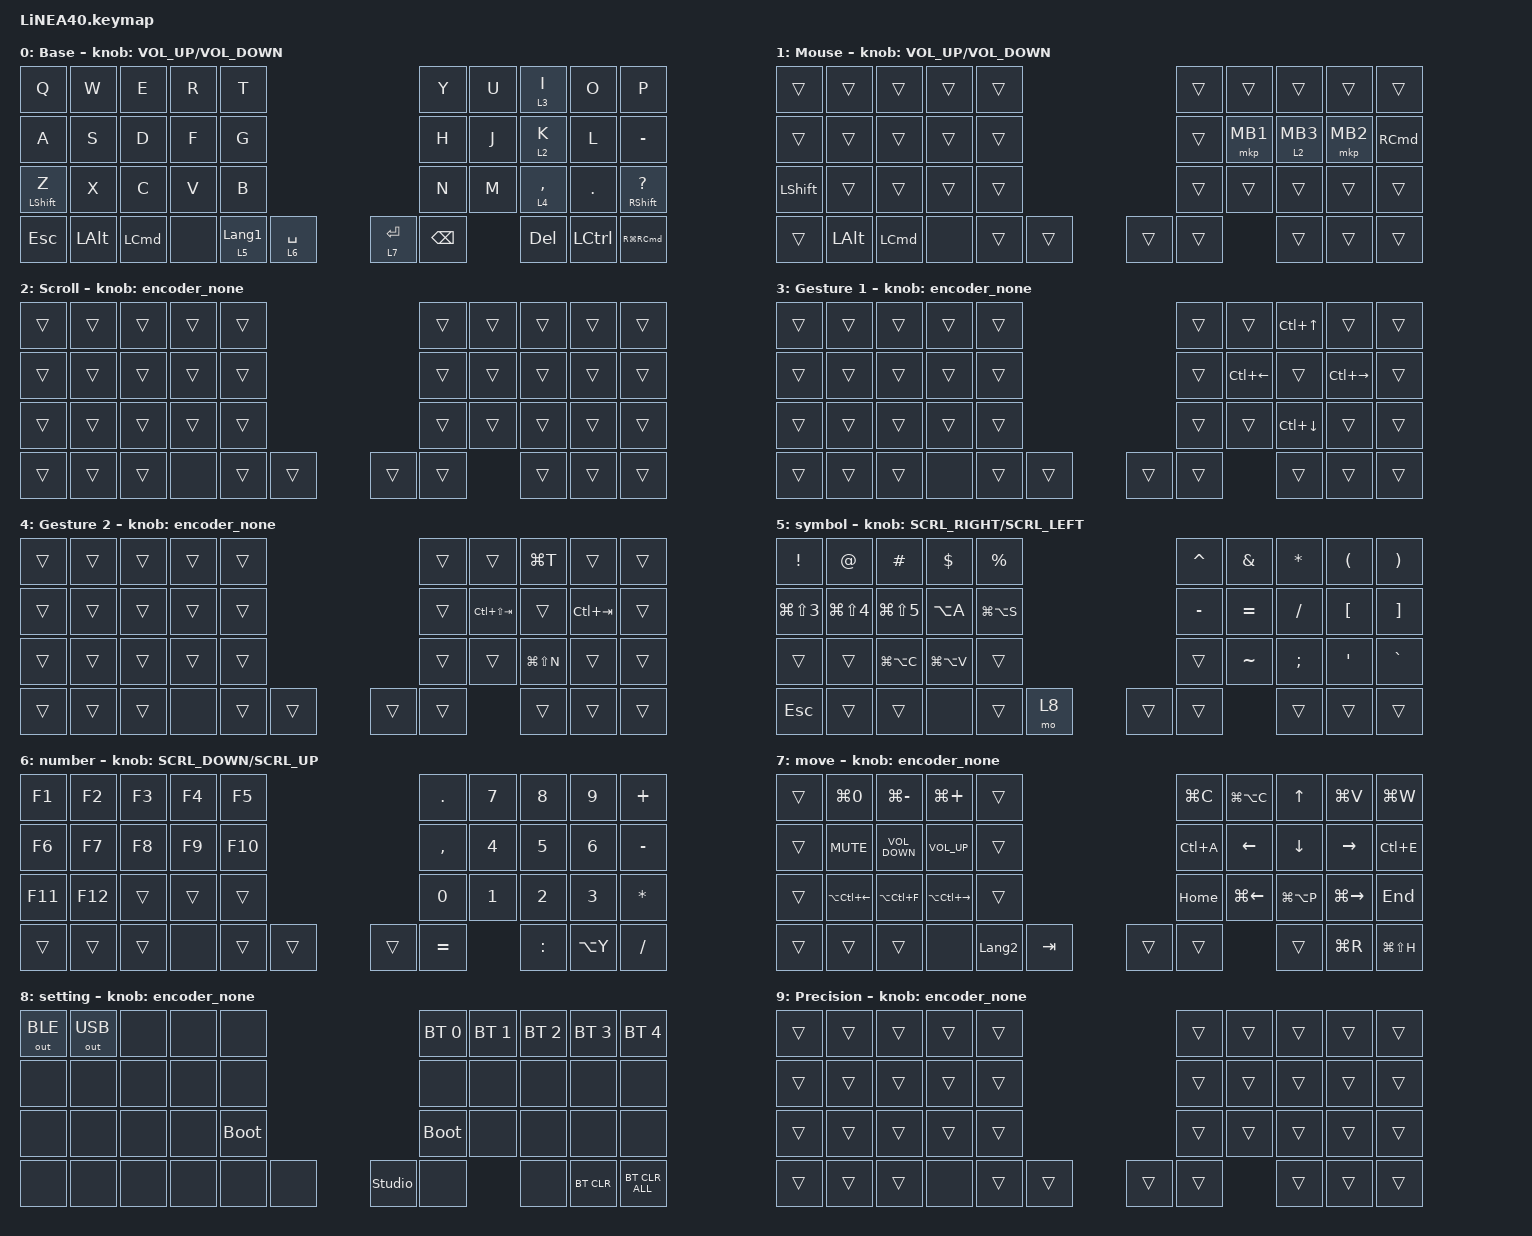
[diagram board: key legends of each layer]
#define ZMK_POINTING_DEFAULT_SCRL_VAL 200

#include <behaviors.dtsi>
#include <dt-bindings/zmk/bt.h>
#include <dt-bindings/zmk/keys.h>
#include <dt-bindings/zmk/outputs.h>
#include <dt-bindings/zmk/pointing.h>

&mt {
    tapping-term-ms = <300>;
    flavor = "balanced";
};

&lt {
    tapping-term-ms = <300>;
    quick-tap-ms = <300>;
};

/ {
    macros {
        emoji: emoji_macro {
            compatible = "zmk,behavior-macro";
            #binding-cells = <0>;
            bindings =
                <&macro_press>,
                <&kp CAPSLOCK>,
                <&macro_tap>,
                <&kp E>,
                <&macro_release>,
                <&kp CAPSLOCK>;
        };
    };

    behaviors {
        mouse_lt: mouse_layer_tap {
            compatible = "zmk,behavior-hold-tap";
            #binding-cells = <2>;
            flavor = "tap-preferred";
            tapping-term-ms = <300>;
            quick-tap-ms = <300>;
            bindings = <&mo>, <&mkp>;

            display-name = "Mouse Layer-Tap";
        };

        encoder_msc: sensor_rotate_msc {
            compatible = "zmk,behavior-sensor-rotate-var";
            #sensor-binding-cells = <2>;
            bindings = <&msc>, <&msc>;

            tap-ms = <20>;
        };

        encoder_none: sensor_rotate_none {
            compatible = "zmk,behavior-sensor-rotate";
            #sensor-binding-cells = <0>;
            bindings = <&none>, <&none>;
        };
    };

    combos {
        compatible = "zmk,combos";

        exit_app {
            bindings = <&kp LG(Q)>;
            key-positions = <8 9>;
        };

        log_off {
            bindings = <&kp LG(LC(Q))>;
            key-positions = <39 40>;
        };
    };

    keymap {
        compatible = "zmk,keymap";

        layer_0 {
            display-name = "Base";
            bindings = <
&kp Q         &kp W         &kp E             &kp R  &kp T                                         &kp Y          &kp U  &lt 3 I      &kp O      &kp P
&kp A         &kp S         &kp D             &kp F  &kp G                                         &kp H          &kp J  &lt 2 K      &kp L      &kp MINUS
&mt LSHIFT Z  &kp X         &kp C             &kp V  &kp B                                         &kp N          &kp M  &lt 4 COMMA  &kp DOT    &mt RSHIFT QUESTION
&kp ESCAPE    &kp LEFT_ALT  &kp LEFT_COMMAND  &none  &lt 5 LANGUAGE_1  &lt 6 SPACE    &lt 7 ENTER  &kp BACKSPACE         &kp DELETE   &kp LCTRL  &kp RG(RIGHT_COMMAND)
            >;

            sensor-bindings = <&inc_dec_kp C_VOLUME_UP C_VOLUME_DOWN>;
        };

        layer_1 {
            display-name = "Mouse";
            bindings = <
&trans      &trans        &trans            &trans  &trans                    &trans  &trans    &trans           &trans    &trans
&trans      &trans        &trans            &trans  &trans                    &trans  &mkp MB1  &mouse_lt 2 MB3  &mkp MB2  &kp RIGHT_COMMAND
&kp LSHIFT  &trans        &trans            &trans  &trans                    &trans  &trans    &trans           &trans    &trans
&trans      &kp LEFT_ALT  &kp LEFT_COMMAND  &none   &trans  &trans    &trans  &trans            &trans           &trans    &trans
            >;

            sensor-bindings = <&inc_dec_kp C_VOLUME_UP C_VOLUME_DOWN>;
        };

        layer_2 {
            display-name = "Scroll";
            bindings = <
&trans  &trans  &trans  &trans  &trans                    &trans  &trans  &trans  &trans  &trans
&trans  &trans  &trans  &trans  &trans                    &trans  &trans  &trans  &trans  &trans
&trans  &trans  &trans  &trans  &trans                    &trans  &trans  &trans  &trans  &trans
&trans  &trans  &trans  &none   &trans  &trans    &trans  &trans          &trans  &trans  &trans
            >;

            sensor-bindings = <&encoder_none>;
        };

        layer_3 {
            display-name = "Gesture 1";
            bindings = <
&trans  &trans  &trans  &trans  &trans                    &trans  &trans              &kp LC(UP_ARROW)    &trans               &trans
&trans  &trans  &trans  &trans  &trans                    &trans  &kp LC(LEFT_ARROW)  &trans              &kp LC(RIGHT_ARROW)  &trans
&trans  &trans  &trans  &trans  &trans                    &trans  &trans              &kp LC(DOWN_ARROW)  &trans               &trans
&trans  &trans  &trans  &none   &trans  &trans    &trans  &trans                      &trans              &trans               &trans
            >;

            sensor-bindings = <&encoder_none>;
        };

        layer_4 {
            display-name = "Gesture 2";
            bindings = <
&trans  &trans  &trans  &trans  &trans                    &trans  &trans           &kp LG(T)      &trans       &trans
&trans  &trans  &trans  &trans  &trans                    &trans  &kp LC(LS(TAB))  &trans         &kp LC(TAB)  &trans
&trans  &trans  &trans  &trans  &trans                    &trans  &trans           &kp LG(LS(N))  &trans       &trans
&trans  &trans  &trans  &none   &trans  &trans    &trans  &trans                   &trans         &trans       &trans
            >;

            sensor-bindings = <&encoder_none>;
        };

        layer_5 {
            display-name = "symbol";
            bindings = <
&kp EXCLAMATION  &kp AT_SIGN     &kp HASH        &kp DOLLAR     &kp PERCENT                     &kp CARET  &kp AMPERSAND  &kp ASTERISK   &kp LEFT_PARENTHESIS  &kp RIGHT_PARENTHESIS
&kp LG(LS(N3))   &kp LG(LS(N4))  &kp LG(LS(N5))  &kp LA(A)      &kp LG(LA(S))                   &kp MINUS  &kp EQUAL      &kp SLASH      &kp LEFT_BRACKET      &kp RIGHT_BRACKET
&trans           &trans          &kp LG(LA(C))   &kp LG(LA(V))  &trans                          &trans     &kp TILDE      &kp SEMICOLON  &kp SQT               &kp GRAVE
&kp ESCAPE       &trans          &trans          &none          &trans         &mo 8    &trans  &trans                    &trans         &trans                &trans
            >;

            sensor-bindings = <&encoder_msc SCRL_RIGHT SCRL_LEFT>;
        };

        layer_6 {
            display-name = "number";
            bindings = <
&kp F1   &kp F2   &kp F3  &kp F4  &kp F5                     &kp PERIOD    &kp NUMBER_7  &kp NUMBER_8  &kp NUMBER_9  &kp PLUS
&kp F6   &kp F7   &kp F8  &kp F9  &kp F10                    &kp COMMA     &kp NUMBER_4  &kp NUMBER_5  &kp NUMBER_6  &kp MINUS
&kp F11  &kp F12  &trans  &trans  &trans                     &kp NUMBER_0  &kp NUMBER_1  &kp NUMBER_2  &kp NUMBER_3  &kp ASTERISK
&trans   &trans   &trans  &none   &trans   &trans    &trans  &kp EQUAL                   &kp COLON     &kp LA(Y)     &kp SLASH
            >;

            sensor-bindings = <&encoder_msc SCRL_DOWN SCRL_UP>;
        };

        layer_7 {
            display-name = "move";
            bindings = <
&trans  &kp LG(N0)              &kp LG(MINUS)      &kp LG(PLUS)             &trans                             &kp LG(C)  &kp LG(LA(C))       &kp UP_ARROW    &kp LG(V)            &kp LG(W)
&trans  &kp K_MUTE              &kp C_VOLUME_DOWN  &kp C_VOLUME_UP          &trans                             &kp LC(A)  &kp LEFT_ARROW      &kp DOWN_ARROW  &kp RIGHT_ARROW      &kp LC(E)
&trans  &kp LA(LC(LEFT_ARROW))  &kp LA(LC(F))      &kp LA(LC(RIGHT_ARROW))  &trans                             &kp HOME   &kp LG(LEFT_ARROW)  &kp LG(LA(P))   &kp LG(RIGHT_ARROW)  &kp END
&trans  &trans                  &trans             &none                    &kp LANGUAGE_2  &kp TAB    &trans  &trans                         &trans          &kp LG(R)            &kp LG(LS(H))
            >;

            sensor-bindings = <&encoder_none>;
        };

        layer_8 {
            display-name = "setting";
            bindings = <
&out OUT_BLE  &out OUT_USB  &none  &none  &none                                 &bt BT_SEL 0  &bt BT_SEL 1  &bt BT_SEL 2  &bt BT_SEL 3  &bt BT_SEL 4
&none         &none         &none  &none  &none                                 &none         &none         &none         &none         &none
&none         &none         &none  &none  &bootloader                           &bootloader   &none         &none         &none         &none
&none         &none         &none  &none  &none        &none    &studio_unlock  &none                       &none         &bt BT_CLR    &bt BT_CLR_ALL
            >;

            sensor-bindings = <&encoder_none>;
        };

        layer_9 {
            display-name = "Precision";
            bindings = <
&trans  &trans  &trans  &trans  &trans                    &trans  &trans  &trans  &trans  &trans
&trans  &trans  &trans  &trans  &trans                    &trans  &trans  &trans  &trans  &trans
&trans  &trans  &trans  &trans  &trans                    &trans  &trans  &trans  &trans  &trans
&trans  &trans  &trans  &none   &trans  &trans    &trans  &trans          &trans  &trans  &trans
            >;

            sensor-bindings = <&encoder_none>;
        };
    };
};
